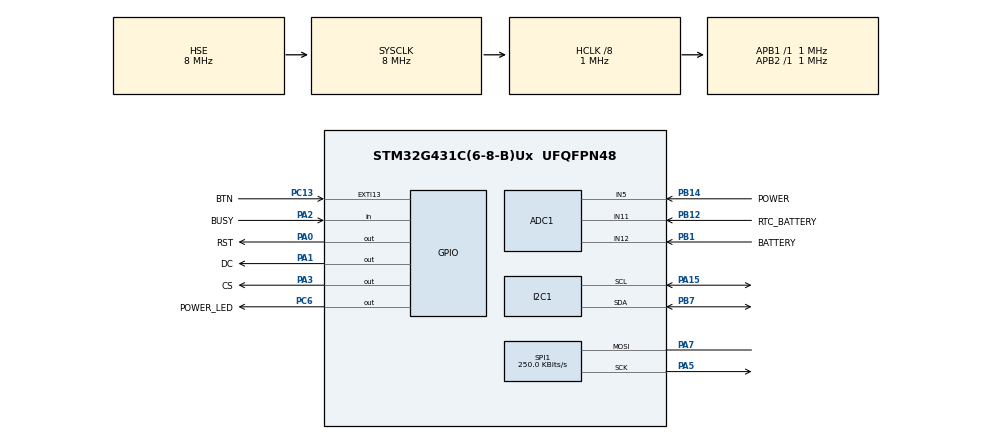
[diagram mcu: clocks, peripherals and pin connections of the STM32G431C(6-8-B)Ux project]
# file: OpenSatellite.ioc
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ADC1.Channel-0\#ChannelRegularConversion=ADC_CHANNEL_11
ADC1.Channel-1\#ChannelRegularConversion=ADC_CHANNEL_5
ADC1.Channel-2\#ChannelRegularConversion=ADC_CHANNEL_12
ADC1.EOCSelection=ADC_EOC_SINGLE_CONV
ADC1.NbrOfConversion=3
ADC1.NbrOfConversionFlag=1
ADC1.OffsetNumber-0\#ChannelRegularConversion=ADC_OFFSET_NONE
ADC1.OffsetNumber-1\#ChannelRegularConversion=ADC_OFFSET_NONE
ADC1.OffsetNumber-2\#ChannelRegularConversion=ADC_OFFSET_NONE
ADC1.Rank-0\#ChannelRegularConversion=1
ADC1.Rank-1\#ChannelRegularConversion=2
ADC1.Rank-2\#ChannelRegularConversion=3
ADC1.SamplingTime-0\#ChannelRegularConversion=ADC_SAMPLETIME_247CYCLES_5
ADC1.SamplingTime-1\#ChannelRegularConversion=ADC_SAMPLETIME_247CYCLES_5
ADC1.SamplingTime-2\#ChannelRegularConversion=ADC_SAMPLETIME_247CYCLES_5
ADC1.master=1
Dma.ADC1.0.Direction=DMA_PERIPH_TO_MEMORY
Dma.ADC1.0.EventEnable=DISABLE
Dma.ADC1.0.Instance=DMA1_Channel1
Dma.ADC1.0.MemDataAlignment=DMA_MDATAALIGN_HALFWORD
Dma.ADC1.0.MemInc=DMA_MINC_ENABLE
Dma.ADC1.0.Mode=DMA_NORMAL
Dma.ADC1.0.PeriphDataAlignment=DMA_PDATAALIGN_HALFWORD
Dma.ADC1.0.PeriphInc=DMA_PINC_DISABLE
Dma.ADC1.0.Polarity=HAL_DMAMUX_REQ_GEN_RISING
Dma.ADC1.0.Priority=DMA_PRIORITY_LOW
Dma.ADC1.0.RequestNumber=1
Dma.ADC1.0.SignalID=NONE
Dma.ADC1.0.SyncEnable=DISABLE
Dma.ADC1.0.SyncPolarity=HAL_DMAMUX_SYNC_NO_EVENT
Dma.ADC1.0.SyncRequestNumber=1
Dma.ADC1.0.SyncSignalID=NONE
Dma.Request0=ADC1
I2C1.Timing=0x00000103
Mcu.Family=STM32G4
Mcu.Name=STM32G431C(6-8-B)Ux
Mcu.Package=UFQFPN48
NVIC.DMA1_Channel1_IRQn=true\:0\:0\:false\:false\:true\:false\:true\:true
NVIC.EXTI15_10_IRQn=true\:0\:0\:false\:false\:true\:true\:true\:true
NVIC.PriorityGroup=NVIC_PRIORITYGROUP_4
NVIC.RTC_WKUP_IRQn=true\:0\:0\:false\:false\:true\:true\:true\:true
PA0.GPIO_Label=RST
PA0.Signal=GPIO_Output
PA1.GPIO_Label=DC
PA1.Signal=GPIO_Output
PA13.Mode=Serial_Wire
PA13.Signal=SYS_JTMS-SWDIO
PA14.Mode=Serial_Wire
PA14.Signal=SYS_JTCK-SWCLK
PA15.Mode=I2C
PA15.Signal=I2C1_SCL
PA2.GPIO_Label=BUSY
PA2.Signal=GPIO_Input
PA3.GPIO_Label=CS
PA3.Signal=GPIO_Output
PA5.Mode=Simplex_Bidirectional_Master
PA5.Signal=SPI1_SCK
PA7.Mode=Simplex_Bidirectional_Master
PA7.Signal=SPI1_MOSI
PB1.GPIO_Label=BATTERY
PB1.Mode=IN12-Single-Ended
PB1.Signal=ADC1_IN12
PB12.GPIO_Label=RTC_BATTERY
PB12.Mode=IN11-Single-Ended
PB12.Signal=ADC1_IN11
PB14.GPIO_Label=POWER
PB14.Mode=IN5-Single-Ended
PB14.Signal=ADC1_IN5
PB7.Mode=I2C
PB7.Signal=I2C1_SDA
PC13.GPIO_Label=BTN
PC13.GPIO_PuPd=GPIO_PULLDOWN
PC13.Signal=GPXTI13
PC14-OSC32_IN.Mode=LSE-External-Oscillator
PC14-OSC32_IN.Signal=RCC_OSC32_IN
PC15-OSC32_OUT.Mode=LSE-External-Oscillator
PC15-OSC32_OUT.Signal=RCC_OSC32_OUT
PC6.GPIO_Label=POWER_LED
PC6.Signal=GPIO_Output
PF0-OSC_IN.Mode=HSE-External-Oscillator
PF0-OSC_IN.Signal=RCC_OSC_IN
PF1-OSC_OUT.Mode=HSE-External-Oscillator
PF1-OSC_OUT.Signal=RCC_OSC_OUT
ProjectManager.HeapSize=0x200
ProjectManager.StackSize=0x400
ProjectManager.TargetToolchain=STM32CubeIDE
RCC.ADC12Freq_Value=8000000
RCC.AHBCLKDivider=RCC_SYSCLK_DIV8
RCC.AHBFreq_Value=1000000
RCC.APB1Freq_Value=1000000
RCC.APB1TimFreq_Value=1000000
RCC.APB2Freq_Value=1000000
RCC.APB2TimFreq_Value=1000000
RCC.CortexFreq_Value=1000000
RCC.EXTERNAL_CLOCK_VALUE=12288000
RCC.HCLKFreq_Value=1000000
RCC.HSE_VALUE=8000000
RCC.HSI48_VALUE=48000000
RCC.HSI_VALUE=16000000
RCC.PLLSourceVirtual=RCC_PLLSOURCE_HSE
RCC.RTCClockSelection=RCC_RTCCLKSOURCE_LSE
RCC.SYSCLKFreq_VALUE=8000000
RCC.SYSCLKSource=RCC_SYSCLKSOURCE_HSE
RCC.USBFreq_Value=32000000
RCC.VCOOutputFreq_Value=64000000
RTC.Date=20
RTC.Hours=21
RTC.Minutes=38
RTC.Month=RTC_MONTH_FEBRUARY
RTC.WakeUpClock-WakeUp=RTC_WAKEUPCLOCK_CK_SPRE_16BITS
RTC.WakeUpCounter-WakeUp=29
RTC.WeekDay=RTC_WEEKDAY_FRIDAY
RTC.Year=26
SPI1.BaudRatePrescaler=SPI_BAUDRATEPRESCALER_4
SPI1.CalculateBaudRate=250.0 KBits/s
SPI1.DataSize=SPI_DATASIZE_8BIT
SPI1.Direction=SPI_DIRECTION_1LINE
SPI1.Mode=SPI_MODE_MASTER
SPI1.VirtualType=VM_MASTER
VP_RTC_VS_RTC_Activate.Mode=RTC_Enabled
VP_RTC_VS_RTC_Calendar.Mode=RTC_Calendar
VP_RTC_VS_RTC_WakeUp_intern.Mode=WakeUp
VP_SYS_VS_DBSignals.Mode=DisableDeadBatterySignals
board=custom

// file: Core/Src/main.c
/* USER CODE BEGIN Header */
/**
 ******************************************************************************
 * @file           : main.c
 * @brief          : Main program body
 ******************************************************************************
 * @attention
 *
 * Copyright (c) 2026 STMicroelectronics.
 * All rights reserved.
 *
 * This software is licensed under terms that can be found in the LICENSE file
 * in the root directory of this software component.
 * If no LICENSE file comes with this software, it is provided AS-IS.
 *
 ******************************************************************************
 */
/* USER CODE END Header */
#include "main.h"

/* USER CODE BEGIN Includes */
#include "epaper.h"
#include "bmp.h"
#include "./BME280/bme280.h"
#include "display.h"
#include "const.h"
/* USER CODE END Includes */

ADC_HandleTypeDef hadc1;
DMA_HandleTypeDef hdma_adc1;

I2C_HandleTypeDef hi2c1;

RTC_HandleTypeDef hrtc;

SPI_HandleTypeDef hspi1;

/* USER CODE BEGIN PV */
uint8_t image_bw[EPD_W_BUFF_SIZE * EPD_H];
struct bme280_dev dev;
struct bme280_data comp_data;
int8_t rslt;
volatile uint16_t adc[ADC_CHANNEL_COUNT] = {
    0,
};
volatile uint8_t adcDataReady = 0;
/* USER CODE END PV */

void SystemClock_Config(void);
static void MX_GPIO_Init(void);
static void MX_DMA_Init(void);
static void MX_SPI1_Init(void);
static void MX_I2C1_Init(void);
static void MX_ADC1_Init(void);
static void MX_RTC_Init(void);

/* USER CODE BEGIN 0 */

typedef struct
{
  float temperature;
  float humidity;
  float pressure;
  int8_t connectionOk;
} bmeData_t;

typedef struct
{
  uint32_t batteryAdc;
  uint32_t rtcAdc;
  uint32_t powerAdc;
} adcData_t;

typedef struct
{
  float batteryVoltage;
  float rtcVoltage;
  float powerVoltage;
} voltageData_t;

typedef struct
{
  uint8_t batteryPercent;
  int rtcPercent;
  uint8_t powerPercent;
} percentData_t;

int8_t user_i2c_read(uint8_t id, uint8_t reg_addr, uint8_t *data, uint16_t len)
{
  if (HAL_I2C_Master_Transmit(&hi2c1, (id << 1), &reg_addr, 1, 10) != HAL_OK)
    return -1;
  if (HAL_I2C_Master_Receive(&hi2c1, (id << 1) | 0x01, data, len, 10) != HAL_OK)
    return -1;

  return 0;
}

void user_delay_ms(uint32_t period)
{
  HAL_Delay(period);
}

int8_t user_i2c_write(uint8_t id, uint8_t reg_addr, uint8_t *data, uint16_t len)
{
  int8_t *buf;
  buf = malloc(len + 1);
  buf[0] = reg_addr;
  memcpy(buf + 1, data, len);

  if (HAL_I2C_Master_Transmit(&hi2c1, (id << 1), (uint8_t *)buf, len + 1, HAL_MAX_DELAY) != HAL_OK)
    return -1;

  free(buf);
  return 0;
}

int8_t Bme280Init()
{
  dev.dev_id = BME280_I2C_ADDR_PRIM;
  dev.intf = BME280_I2C_INTF;
  dev.read = user_i2c_read;
  dev.write = user_i2c_write;
  dev.delay_ms = user_delay_ms;

  rslt = bme280_init(&dev);

  /* BME280 settings */
  dev.settings.osr_h = BME280_OVERSAMPLING_1X;
  dev.settings.osr_p = BME280_OVERSAMPLING_16X;
  dev.settings.osr_t = BME280_OVERSAMPLING_2X;
  dev.settings.filter = BME280_FILTER_COEFF_16;
  rslt = bme280_set_sensor_settings(BME280_OSR_PRESS_SEL | BME280_OSR_TEMP_SEL | BME280_OSR_HUM_SEL | BME280_FILTER_SEL, &dev);

  return rslt;
}

void EnterStopMode(void)
{
  // Отключаем SysTick, чтобы он не мешал
  HAL_SuspendTick();

  // Чистим флаги пробуждения
  __HAL_PWR_CLEAR_FLAG(PWR_FLAG_WU);

  // Входим в STOP
  HAL_PWREx_EnterSTOP1Mode(PWR_STOPENTRY_WFI);

  // ==== МК ПРОСНУЛСЯ ЗДЕСЬ ====

  // Восстанавливаем тактирование
  SystemClock_Config();

  // Возвращаем SysTick
  HAL_ResumeTick();

#if EINK_PARTIAL == 1
  epd_init_partial();
#else
  epd_init();
#endif
  epd_paint_selectimage(image_bw);
  epd_paint_clear(EPD_COLOR_WHITE);

#if EINK_PARTIAL == 1
  epd_displayBW_partial(image_bw);
#endif
}

void HAL_RTCEx_WakeUpTimerEventCallback(RTC_HandleTypeDef *hrtc)
{
}

void HAL_ADC_ConvCpltCallback(ADC_HandleTypeDef *hadc)
{
  if (hadc->Instance == ADC1)
  {
    adcDataReady = 1;
    HAL_ADC_Stop_DMA(&hadc1);
  }
}

void HAL_GPIO_EXTI_Callback(uint16_t GPIO_Pin)
{
    if(GPIO_Pin == GPIO_PIN_13)
    {
        // код после нажатия кнопки
    }
}

adcData_t GetAdcData(void)
{
  adcData_t adcData = {};

  adcData.rtcAdc = adc[0];
  adcData.powerAdc = adc[1];
  adcData.batteryAdc = adc[2];

  adc[0] = 0;
  adc[1] = 0;
  adc[2] = 0;

  return adcData;
}

RTC_DateTypeDef GetDate()
{
  RTC_DateTypeDef date;
  HAL_RTC_GetDate(&hrtc, &date, RTC_FORMAT_BIN);
  return date;
}

RTC_TimeTypeDef GetTime()
{
  RTC_TimeTypeDef time;
  HAL_RTC_GetTime(&hrtc, &time, RTC_FORMAT_BIN);
  return time;
}

void DrawDateTime(RTC_DateTypeDef date, RTC_TimeTypeDef time)
{
  char time_string[50];
  char date_string[50];
  char week_string[50];

  sprintf(date_string, "%02d.%02d", date.Date, date.Month);
  epd_paint_showString(125, 60, (uint8_t *)date_string, EPD_FONT_SIZE24x12, EPD_COLOR_BLACK);

  const char *weekDays[] = {
      "",
      "Monday",
      "Tuesday",
      "Wednesday",
      "Thursday",
      "Friday",
      "Saturday",
      "Sunday"
  };

  sprintf(week_string, "%s", weekDays[date.WeekDay]);

  epd_paint_showString(10, 58, (uint8_t *)week_string, EPD_FONT_SIZE24x12, EPD_COLOR_BLACK);

  int hour_tens = time.Hours / 10; // получаем цифру десятков часов
  int hour_ones = time.Hours % 10; // получаем цифру единиц часов
  draw_digit_7x5(hour_tens, 10, 10);
  draw_digit_7x5(hour_ones, 55, 10);

  if (countToReloadDisplay == 0)
  {
    draw_digit_5x3(-1, 85, 20);
    countToReloadDisplay = 1;
  }
  else
  {
    countToReloadDisplay = 0;
  }

  int minutes_tens = time.Minutes / 10; // получаем цифру десятков часов
  int minutes_ones = time.Minutes % 10; // получаем цифру единиц часов
  draw_digit_7x5(minutes_tens, 110, 10);
  draw_digit_7x5(minutes_ones, 155, 10);
}

uint8_t ConvertToPercent(float voltage, float voltageMin, float voltageMax)
{
  // Ограничиваем напряжение диапазоном
  if (voltage < voltageMin)
  {
    voltage = voltageMin;
  }

  if (voltage > voltageMax)
  {
    voltage = voltageMax;
  }

  // Преобразуем в проценты: (v - min) / (max - min) * 100
  uint8_t percent = (voltage - voltageMin) / (voltageMax - voltageMin) * 100.0f;

  // Ограничиваем от 0 до 100
  if (percent < 0)
  {
    percent = 0;
  }

  if (percent > 100)
  {
    percent = 100;
  }

  return percent;
}

void DrawBme280Data(bmeData_t bmeData)
{
  if (1 == bmeData.connectionOk)
  {
    char temp_string[50];
    char hum_string[50];
    char press_string[50];

    const uint8_t tempWidthCord = 125;
    const uint8_t humWidthCord = 150;
    const uint8_t presWidthCord = 175;
    const uint8_t barWidth = 15;

    uint8_t tempPercent = ConvertToPercent(bmeData.temperature, TEMPERATURE_MIN, TEMPERATURE_MAX) / 2;
    uint8_t humPercent = ConvertToPercent(bmeData.humidity, HUMIDITY_MIN, HUMIDITY_MAX) / 2;
    uint8_t presPercent = ConvertToPercent(bmeData.pressure, PRESSURE_MIN, PRESSURE_MAX) / 2;

    epd_paint_drawRectangle(tempWidthCord, 90, tempWidthCord + barWidth, 140, EPD_COLOR_BLACK, 0);
    epd_paint_drawRectangle(tempWidthCord, 140 - tempPercent, tempWidthCord + barWidth, 140, EPD_COLOR_BLACK, 1);

    epd_paint_drawRectangle(humWidthCord, 90, humWidthCord + barWidth, 140, EPD_COLOR_BLACK, 0);
    epd_paint_drawRectangle(humWidthCord, 140 - humPercent, humWidthCord + barWidth, 140, EPD_COLOR_BLACK, 1);

    epd_paint_drawRectangle(presWidthCord, 90, presWidthCord + barWidth, 140, EPD_COLOR_BLACK, 0);
    epd_paint_drawRectangle(presWidthCord, 140 - presPercent, presWidthCord + barWidth, 140, EPD_COLOR_BLACK, 1);

    sprintf(temp_string, "Temperature:%03.1fC", bmeData.temperature);
    sprintf(hum_string, "Humidity:%03.1f%%", bmeData.humidity);
    sprintf(press_string, "Pressure:%03.1fmm", bmeData.pressure);

    epd_paint_showString(1, 90, temp_string, EPD_FONT_SIZE12x6, EPD_COLOR_BLACK);
    epd_paint_showString(1, 110, hum_string, EPD_FONT_SIZE12x6, EPD_COLOR_BLACK);
    epd_paint_showString(1, 130, press_string, EPD_FONT_SIZE12x6, EPD_COLOR_BLACK);
  }
  else
  {
    epd_paint_showString(10, 180, "BME280: ERROR!", EPD_FONT_SIZE16x8, EPD_COLOR_BLACK);
  }
}

void SatelliteInit(float version)
{
  epd_init();
  epd_paint_newimage(image_bw, EPD_W, EPD_H, EPD_ROTATE_270, EPD_COLOR_WHITE);
  epd_paint_selectimage(image_bw);
  epd_paint_clear(EPD_COLOR_WHITE);
  epd_displayBW(image_bw);

  epd_init_partial();
  epd_paint_selectimage(image_bw);
  epd_paint_clear(EPD_COLOR_WHITE);

  char version_string[50];
  memset(version_string, 0, sizeof(version_string));
  sprintf(version_string, "OpenSatellite v%0.1f", version);
  epd_paint_showString(1, 0, (uint8_t *)&version_string, EPD_FONT_SIZE16x8, EPD_COLOR_BLACK);
  epd_displayBW_partial(image_bw);

  int8_t bmeInitResult = Bme280Init();
  if (bmeInitResult == 0)
  {
    epd_paint_showString(1, 20, (uint8_t *)&"BME280: OK", EPD_FONT_SIZE16x8, EPD_COLOR_BLACK);
  }
  else
  {
    epd_paint_showString(1, 20, (uint8_t *)&"BME280: ERROR", EPD_FONT_SIZE16x8, EPD_COLOR_BLACK);
  }
  epd_displayBW_partial(image_bw);

  epd_paint_showString(1, 140, (uint8_t *)&"Designed by", EPD_FONT_SIZE16x8, EPD_COLOR_BLACK);
  epd_paint_showString(1, 160, (uint8_t *)&"Vadim 'syjoosy' Nikolaev", EPD_FONT_SIZE16x8, EPD_COLOR_BLACK);
  epd_displayBW_partial(image_bw);

  epd_paint_showString(1, 180, (uint8_t *)&"Starting satellite!", EPD_FONT_SIZE16x8, EPD_COLOR_BLACK);
  epd_displayBW_partial(image_bw);

  epd_paint_clear(EPD_COLOR_WHITE);
  epd_displayBW_partial(image_bw);
}

bmeData_t ReadBme280()
{
  bmeData_t bmeData = {};
  /* Forced mode setting, switched to SLEEP mode after measurement */
  rslt = bme280_set_sensor_mode(BME280_FORCED_MODE, &dev);
  dev.delay_ms(40);
  /*Get Data */
  rslt = bme280_get_sensor_data(BME280_ALL, &comp_data, &dev);
  if (rslt == BME280_OK)
  {
    bmeData.temperature = comp_data.temperature / 100.0f;
    bmeData.humidity = comp_data.humidity / 1024.0f;
    bmeData.pressure = comp_data.pressure / 10000.0f * 0.75f;
    bmeData.connectionOk = 1;
    bme280_set_sensor_mode(BME280_SLEEP_MODE, &dev);
  }
  else
  {
    bmeData.connectionOk = 0;
  }

  return bmeData;
}

float ConvertToVoltage(uint32_t adcValue, float resistor1, float resistor2)
{
  // Напряжение на входе АЦП (после делителя)
  // V_adc = (adc_value / 4095) * V_ref
  float adcVoltage = (float)(adcValue / ADC_MAX_VALUE * VOLTAGE_VREF); // 3.3 В — опорное напряжение АЦП

  float voltage;
  if (0 == resistor1 || 0 == resistor2)
  {
    voltage = adcVoltage;
  }
  else
  {
    // Восстанавливаем исходное напряжение до делителя:
    // V_in = V_adc * (1 + R1/R2)
    // 0.07 - поправка для корректности данных

    if (0 == adcVoltage)
    {
      voltage = adcVoltage * (1.0f + resistor1 / resistor2);
    }
    else
    {
      voltage = adcVoltage * (1.0f + resistor1 / resistor2) + 0.07f;
    }

  }

  return voltage;
}

// Функция: Чтение АЦП и преобразование в вольты (с учётом делителя)
voltageData_t GetVoltageData(adcData_t adcData)
{
  voltageData_t voltageData = {};

  voltageData.batteryVoltage = ConvertToVoltage(adcData.batteryAdc, R1_BATTERY, R2_BATTERY);
  voltageData.powerVoltage = ConvertToVoltage(adcData.powerAdc, R1_POWER, R1_POWER);
  voltageData.rtcVoltage = ConvertToVoltage(adcData.rtcAdc, 0, 0);

  return voltageData;
}

// Функция: Преобразование напряжения в проценты в заданном диапазоне
percentData_t GetPercentData(voltageData_t voltageData)
{
  percentData_t percentData = {};

  percentData.batteryPercent = ConvertToPercent(voltageData.batteryVoltage, BATTERY_VOLTAGE_MIN, BATTERY_VOLTAGE_MAX);
  percentData.powerPercent = ConvertToPercent(voltageData.powerVoltage, POWER_VOLTAGE_MIN, POWER_VOLTAGE_MAX);
  percentData.rtcPercent = ConvertToPercent(voltageData.rtcVoltage, RTC_VOLTAGE_MIN, RTC_VOLTAGE_MAX);

  return percentData;
}

void DrawPowerData(percentData_t percentData, voltageData_t voltageData, adcData_t adcData)
{
  char powerPercent[50];
  char batteryPercent[50];
  char rtcPercent[50];

  sprintf(powerPercent, "VIN: %d%%(%0.2fV)", percentData.powerPercent, voltageData.powerVoltage);
  sprintf(batteryPercent, "BAT: %d%%(%0.2fV)", percentData.batteryPercent, voltageData.batteryVoltage);
  sprintf(rtcPercent, "RTC: %d%%(%0.2fV)", percentData.rtcPercent, voltageData.rtcVoltage);

  const uint8_t powerHeight = 149;
  const uint8_t batteryHeight = 169;
  const uint8_t rtcHeight = 189;
  const uint8_t barHeight = 10;

  epd_paint_showString(105, powerHeight + 1, powerPercent, EPD_FONT_SIZE8x6, EPD_COLOR_BLACK);
  epd_paint_showString(105, batteryHeight + 1, batteryPercent, EPD_FONT_SIZE8x6, EPD_COLOR_BLACK);
  epd_paint_showString(105, rtcHeight + 1, rtcPercent, EPD_FONT_SIZE8x6, EPD_COLOR_BLACK);

  epd_paint_drawRectangle(1, powerHeight, 100, powerHeight + barHeight, EPD_COLOR_BLACK, 0);
  epd_paint_drawRectangle(1, powerHeight, percentData.powerPercent, powerHeight + barHeight, EPD_COLOR_BLACK, 1);

  epd_paint_drawRectangle(1, batteryHeight, 100, batteryHeight + barHeight, EPD_COLOR_BLACK, 0);
  epd_paint_drawRectangle(1, batteryHeight, percentData.batteryPercent, batteryHeight + barHeight, EPD_COLOR_BLACK, 1);

  epd_paint_drawRectangle(1, rtcHeight, 100, rtcHeight + barHeight, EPD_COLOR_BLACK, 0);
  epd_paint_drawRectangle(1, rtcHeight, percentData.rtcPercent, rtcHeight + barHeight, EPD_COLOR_BLACK, 1);
}

void SendDataToDisplay()
{
#if EINK_PARTIAL == 1
  epd_displayBW_partial(image_bw);
#else
  epd_displayBW(image_bw);
#endif

  epd_enter_deepsleepmode(EPD_DEEPSLEEP_MODE1);
}
/* USER CODE END 0 */

int main(void)
{

  /* MCU Configuration--------------------------------------------------------*/

  /* Reset of all peripherals, Initializes the Flash interface and the Systick. */
  HAL_Init();

  /* USER CODE BEGIN Init */
  float version = 0.1f;
  /* USER CODE END Init */

  /* Configure the system clock */
  SystemClock_Config();

  /* Initialize all configured peripherals */
  MX_GPIO_Init();
  MX_DMA_Init();
  MX_SPI1_Init();
  MX_I2C1_Init();
  MX_ADC1_Init();
  MX_RTC_Init();
  /* USER CODE BEGIN 2 */
  HAL_ADC_Start_DMA(&hadc1, (uint32_t *)&adc, ADC_CHANNEL_COUNT); // стартуем АЦП
  SatelliteInit(version);
  /* USER CODE END 2 */

  /* Infinite loop */
  /* USER CODE BEGIN WHILE */
  while (1)
  {
    RTC_TimeTypeDef time = GetTime();
    RTC_DateTypeDef date = GetDate();
    DrawDateTime(date, time);

    if (adcDataReady)
    {
      adcDataReady = 0;
      adcData_t adcData = GetAdcData();
      voltageData_t voltageData = GetVoltageData(adcData);
      percentData_t percentData = GetPercentData(voltageData);
      DrawPowerData(percentData, voltageData, adcData);

      HAL_ADC_Start_DMA(&hadc1, (uint32_t *)&adc, ADC_CHANNEL_COUNT);
    }

    bmeData_t bmeData = ReadBme280();
    DrawBme280Data(bmeData);

    SendDataToDisplay();
    EnterStopMode();
    /* USER CODE END WHILE */

  }
}

void SystemClock_Config(void)
{
  RCC_OscInitTypeDef RCC_OscInitStruct = {0};
  RCC_ClkInitTypeDef RCC_ClkInitStruct = {0};

  /** Configure the main internal regulator output voltage
  */
  HAL_PWREx_ControlVoltageScaling(PWR_REGULATOR_VOLTAGE_SCALE1);

  /** Configure LSE Drive Capability
  */
  HAL_PWR_EnableBkUpAccess();
  __HAL_RCC_LSEDRIVE_CONFIG(RCC_LSEDRIVE_LOW);

  /** Initializes the RCC Oscillators according to the specified parameters
  * in the RCC_OscInitTypeDef structure.
  */
  RCC_OscInitStruct.OscillatorType = RCC_OSCILLATORTYPE_HSE|RCC_OSCILLATORTYPE_LSE;
  RCC_OscInitStruct.HSEState = RCC_HSE_ON;
  RCC_OscInitStruct.LSEState = RCC_LSE_ON;
  RCC_OscInitStruct.PLL.PLLState = RCC_PLL_NONE;
  if (HAL_RCC_OscConfig(&RCC_OscInitStruct) != HAL_OK)
  {
    Error_Handler();
  }

  /** Initializes the CPU, AHB and APB buses clocks
  */
  RCC_ClkInitStruct.ClockType = RCC_CLOCKTYPE_HCLK|RCC_CLOCKTYPE_SYSCLK
                              |RCC_CLOCKTYPE_PCLK1|RCC_CLOCKTYPE_PCLK2;
  RCC_ClkInitStruct.SYSCLKSource = RCC_SYSCLKSOURCE_HSE;
  RCC_ClkInitStruct.AHBCLKDivider = RCC_SYSCLK_DIV8;
  RCC_ClkInitStruct.APB1CLKDivider = RCC_HCLK_DIV1;
  RCC_ClkInitStruct.APB2CLKDivider = RCC_HCLK_DIV1;

  if (HAL_RCC_ClockConfig(&RCC_ClkInitStruct, FLASH_LATENCY_0) != HAL_OK)
  {
    Error_Handler();
  }
}

static void MX_ADC1_Init(void)
{

  ADC_MultiModeTypeDef multimode = {0};
  ADC_ChannelConfTypeDef sConfig = {0};

  /** Common config
  */
  hadc1.Instance = ADC1;
  hadc1.Init.ClockPrescaler = ADC_CLOCK_SYNC_PCLK_DIV2;
  hadc1.Init.Resolution = ADC_RESOLUTION_12B;
  hadc1.Init.DataAlign = ADC_DATAALIGN_RIGHT;
  hadc1.Init.GainCompensation = 0;
  hadc1.Init.ScanConvMode = ADC_SCAN_ENABLE;
  hadc1.Init.EOCSelection = ADC_EOC_SINGLE_CONV;
  hadc1.Init.LowPowerAutoWait = DISABLE;
  hadc1.Init.ContinuousConvMode = DISABLE;
  hadc1.Init.NbrOfConversion = 3;
  hadc1.Init.DiscontinuousConvMode = DISABLE;
  hadc1.Init.ExternalTrigConv = ADC_SOFTWARE_START;
  hadc1.Init.ExternalTrigConvEdge = ADC_EXTERNALTRIGCONVEDGE_NONE;
  hadc1.Init.DMAContinuousRequests = DISABLE;
  hadc1.Init.Overrun = ADC_OVR_DATA_PRESERVED;
  hadc1.Init.OversamplingMode = DISABLE;
  if (HAL_ADC_Init(&hadc1) != HAL_OK)
  {
    Error_Handler();
  }

  /** Configure the ADC multi-mode
  */
  multimode.Mode = ADC_MODE_INDEPENDENT;
  if (HAL_ADCEx_MultiModeConfigChannel(&hadc1, &multimode) != HAL_OK)
  {
    Error_Handler();
  }

  /** Configure Regular Channel
  */
  sConfig.Channel = ADC_CHANNEL_11;
  sConfig.Rank = ADC_REGULAR_RANK_1;
  sConfig.SamplingTime = ADC_SAMPLETIME_247CYCLES_5;
  sConfig.SingleDiff = ADC_SINGLE_ENDED;
  sConfig.OffsetNumber = ADC_OFFSET_NONE;
  sConfig.Offset = 0;
  if (HAL_ADC_ConfigChannel(&hadc1, &sConfig) != HAL_OK)
  {
    Error_Handler();
  }

  /** Configure Regular Channel
  */
  sConfig.Channel = ADC_CHANNEL_5;
  sConfig.Rank = ADC_REGULAR_RANK_2;
  if (HAL_ADC_ConfigChannel(&hadc1, &sConfig) != HAL_OK)
  {
    Error_Handler();
  }

  /** Configure Regular Channel
  */
  sConfig.Channel = ADC_CHANNEL_12;
  sConfig.Rank = ADC_REGULAR_RANK_3;
  if (HAL_ADC_ConfigChannel(&hadc1, &sConfig) != HAL_OK)
  {
    Error_Handler();
  }

}

static void MX_I2C1_Init(void)
{

  hi2c1.Instance = I2C1;
  hi2c1.Init.Timing = 0x00000103;
  hi2c1.Init.OwnAddress1 = 0;
  hi2c1.Init.AddressingMode = I2C_ADDRESSINGMODE_7BIT;
  hi2c1.Init.DualAddressMode = I2C_DUALADDRESS_DISABLE;
  hi2c1.Init.OwnAddress2 = 0;
  hi2c1.Init.OwnAddress2Masks = I2C_OA2_NOMASK;
  hi2c1.Init.GeneralCallMode = I2C_GENERALCALL_DISABLE;
  hi2c1.Init.NoStretchMode = I2C_NOSTRETCH_DISABLE;
  if (HAL_I2C_Init(&hi2c1) != HAL_OK)
  {
    Error_Handler();
  }

  /** Configure Analogue filter
  */
  if (HAL_I2CEx_ConfigAnalogFilter(&hi2c1, I2C_ANALOGFILTER_ENABLE) != HAL_OK)
  {
    Error_Handler();
  }

  /** Configure Digital filter
  */
  if (HAL_I2CEx_ConfigDigitalFilter(&hi2c1, 0) != HAL_OK)
  {
    Error_Handler();
  }

}

static void MX_RTC_Init(void)
{

  RTC_TimeTypeDef sTime = {0};
  RTC_DateTypeDef sDate = {0};

  /** Initialize RTC Only
  */
  hrtc.Instance = RTC;
  hrtc.Init.HourFormat = RTC_HOURFORMAT_24;
  hrtc.Init.AsynchPrediv = 127;
  hrtc.Init.SynchPrediv = 255;
  hrtc.Init.OutPut = RTC_OUTPUT_DISABLE;
  hrtc.Init.OutPutRemap = RTC_OUTPUT_REMAP_NONE;
  hrtc.Init.OutPutPolarity = RTC_OUTPUT_POLARITY_HIGH;
  hrtc.Init.OutPutType = RTC_OUTPUT_TYPE_OPENDRAIN;
  hrtc.Init.OutPutPullUp = RTC_OUTPUT_PULLUP_NONE;
  if (HAL_RTC_Init(&hrtc) != HAL_OK)
  {
    Error_Handler();
  }

  /* USER CODE BEGIN Check_RTC_BKUP */
  if (HAL_RTCEx_SetWakeUpTimer_IT(&hrtc, 29, RTC_WAKEUPCLOCK_CK_SPRE_16BITS) != HAL_OK)
  {
    Error_Handler();
  }

  return
  /* USER CODE END Check_RTC_BKUP */

  /** Initialize RTC and set the Time and Date
  */
  sTime.Hours = 0x21;
  sTime.Minutes = 0x38;
  sTime.Seconds = 0x0;
  sTime.SubSeconds = 0x0;
  sTime.DayLightSaving = RTC_DAYLIGHTSAVING_NONE;
  sTime.StoreOperation = RTC_STOREOPERATION_RESET;
  if (HAL_RTC_SetTime(&hrtc, &sTime, RTC_FORMAT_BCD) != HAL_OK)
  {
    Error_Handler();
  }
  sDate.WeekDay = RTC_WEEKDAY_FRIDAY;
  sDate.Month = RTC_MONTH_FEBRUARY;
  sDate.Date = 0x20;
  sDate.Year = 0x26;

  if (HAL_RTC_SetDate(&hrtc, &sDate, RTC_FORMAT_BCD) != HAL_OK)
  {
    Error_Handler();
  }

  /** Enable the WakeUp
  */
  if (HAL_RTCEx_SetWakeUpTimer_IT(&hrtc, 29, RTC_WAKEUPCLOCK_CK_SPRE_16BITS) != HAL_OK)
  {
    Error_Handler();
  }

}

static void MX_SPI1_Init(void)
{

  /* SPI1 parameter configuration*/
  hspi1.Instance = SPI1;
  hspi1.Init.Mode = SPI_MODE_MASTER;
  hspi1.Init.Direction = SPI_DIRECTION_1LINE;
  hspi1.Init.DataSize = SPI_DATASIZE_8BIT;
  hspi1.Init.CLKPolarity = SPI_POLARITY_LOW;
  hspi1.Init.CLKPhase = SPI_PHASE_1EDGE;
  hspi1.Init.NSS = SPI_NSS_SOFT;
  hspi1.Init.BaudRatePrescaler = SPI_BAUDRATEPRESCALER_4;
  hspi1.Init.FirstBit = SPI_FIRSTBIT_MSB;
  hspi1.Init.TIMode = SPI_TIMODE_DISABLE;
  hspi1.Init.CRCCalculation = SPI_CRCCALCULATION_DISABLE;
  hspi1.Init.CRCPolynomial = 7;
  hspi1.Init.CRCLength = SPI_CRC_LENGTH_DATASIZE;
  hspi1.Init.NSSPMode = SPI_NSS_PULSE_ENABLE;
  if (HAL_SPI_Init(&hspi1) != HAL_OK)
  {
    Error_Handler();
  }

}

static void MX_DMA_Init(void)
{

  /* DMA controller clock enable */
  __HAL_RCC_DMAMUX1_CLK_ENABLE();
  __HAL_RCC_DMA1_CLK_ENABLE();

  /* DMA interrupt init */
  /* DMA1_Channel1_IRQn interrupt configuration */
  HAL_NVIC_SetPriority(DMA1_Channel1_IRQn, 0, 0);
  HAL_NVIC_EnableIRQ(DMA1_Channel1_IRQn);

}

static void MX_GPIO_Init(void)
{
  GPIO_InitTypeDef GPIO_InitStruct = {0};

  /* GPIO Ports Clock Enable */
  __HAL_RCC_GPIOC_CLK_ENABLE();
  __HAL_RCC_GPIOF_CLK_ENABLE();
  __HAL_RCC_GPIOA_CLK_ENABLE();
  __HAL_RCC_GPIOB_CLK_ENABLE();

  /*Configure GPIO pin Output Level */
  HAL_GPIO_WritePin(GPIOA, RST_Pin|DC_Pin|CS_Pin, GPIO_PIN_RESET);

  /*Configure GPIO pin Output Level */
  HAL_GPIO_WritePin(POWER_LED_GPIO_Port, POWER_LED_Pin, GPIO_PIN_RESET);

  /*Configure GPIO pin : BTN_Pin */
  GPIO_InitStruct.Pin = BTN_Pin;
  GPIO_InitStruct.Mode = GPIO_MODE_IT_RISING;
  GPIO_InitStruct.Pull = GPIO_PULLDOWN;
  HAL_GPIO_Init(BTN_GPIO_Port, &GPIO_InitStruct);

  /*Configure GPIO pins : RST_Pin DC_Pin CS_Pin */
  GPIO_InitStruct.Pin = RST_Pin|DC_Pin|CS_Pin;
  GPIO_InitStruct.Mode = GPIO_MODE_OUTPUT_PP;
  GPIO_InitStruct.Pull = GPIO_NOPULL;
  GPIO_InitStruct.Speed = GPIO_SPEED_FREQ_LOW;
  HAL_GPIO_Init(GPIOA, &GPIO_InitStruct);

  /*Configure GPIO pin : BUSY_Pin */
  GPIO_InitStruct.Pin = BUSY_Pin;
  GPIO_InitStruct.Mode = GPIO_MODE_INPUT;
  GPIO_InitStruct.Pull = GPIO_NOPULL;
  HAL_GPIO_Init(BUSY_GPIO_Port, &GPIO_InitStruct);

  /*Configure GPIO pin : POWER_LED_Pin */
  GPIO_InitStruct.Pin = POWER_LED_Pin;
  GPIO_InitStruct.Mode = GPIO_MODE_OUTPUT_PP;
  GPIO_InitStruct.Pull = GPIO_NOPULL;
  GPIO_InitStruct.Speed = GPIO_SPEED_FREQ_LOW;
  HAL_GPIO_Init(POWER_LED_GPIO_Port, &GPIO_InitStruct);

  /* EXTI interrupt init*/
  HAL_NVIC_SetPriority(EXTI15_10_IRQn, 0, 0);
  HAL_NVIC_EnableIRQ(EXTI15_10_IRQn);

/* USER CODE BEGIN MX_GPIO_Init_2 */
  /* ADC pins */
  GPIO_InitStruct.Pin = GPIO_PIN_1 | GPIO_PIN_11 | GPIO_PIN_12; // пример
  GPIO_InitStruct.Mode = GPIO_MODE_ANALOG;
  GPIO_InitStruct.Pull = GPIO_NOPULL;
  HAL_GPIO_Init(GPIOB, &GPIO_InitStruct);
/* USER CODE END MX_GPIO_Init_2 */
}

void Error_Handler(void)
{
  __disable_irq();
  while (1)
  {
  }
}
